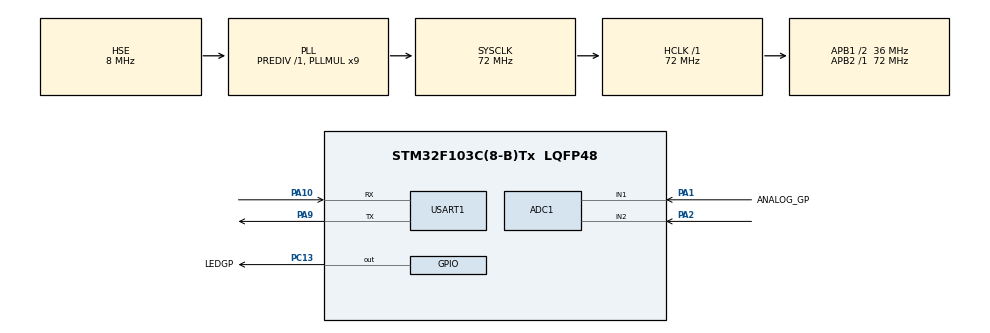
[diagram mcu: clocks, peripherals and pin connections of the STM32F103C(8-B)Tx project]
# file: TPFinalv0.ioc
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Mcu.Family=STM32F1
RCC.PLLSourceVirtual=RCC_PLLSOURCE_HSE
NVIC.ADC1_2_IRQn=true\:0\:0\:false\:false\:true\:true\:true
Dma.ADC1.0.Instance=DMA1_Channel1
ADC1.Rank-0\#ChannelRegularConversion=1
PD1-OSC_OUT.Mode=HSE-External-Oscillator
PA10.Mode=Asynchronous
SH.ADCx_IN2.0=ADC1_IN2,IN2
PC13-TAMPER-RTC.Signal=GPIO_Output
PD0-OSC_IN.Signal=RCC_OSC_IN
RCC.APB1CLKDivider=RCC_HCLK_DIV2
RCC.SYSCLKSource=RCC_SYSCLKSOURCE_PLLCLK
ProjectManager.StackSize=0x400
PD1-OSC_OUT.Signal=RCC_OSC_OUT
RCC.ADCPresc=RCC_ADCPCLK2_DIV6
PA13.Signal=SYS_JTMS-SWDIO
Dma.ADC1.0.PeriphDataAlignment=DMA_PDATAALIGN_HALFWORD
PA9.Mode=Asynchronous
ProjectManager.TargetToolchain=STM32CubeIDE
Dma.ADC1.0.Mode=DMA_NORMAL
RCC.HCLKFreq_Value=72000000
Dma.ADC1.0.Priority=DMA_PRIORITY_LOW
RCC.APB2TimFreq_Value=72000000
PA9.Signal=USART1_TX
ADC1.Channel-1\#ChannelRegularConversion=ADC_CHANNEL_2
Dma.ADC1.0.Direction=DMA_PERIPH_TO_MEMORY
RCC.USBFreq_Value=72000000
Dma.ADC1.0.MemDataAlignment=DMA_MDATAALIGN_HALFWORD
PA1.Signal=ADCx_IN1
RCC.AHBFreq_Value=72000000
PD0-OSC_IN.Mode=HSE-External-Oscillator
ADC1.Channel-0\#ChannelRegularConversion=ADC_CHANNEL_1
board=custom
PC13-TAMPER-RTC.GPIO_Label=LEDGP
RCC.PLLMUL=RCC_PLL_MUL9
RCC.APB2Freq_Value=72000000
VP_TIM2_VS_ClockSourceINT.Mode=Internal
PA14.Mode=Serial_Wire
Dma.ADC1.0.PeriphInc=DMA_PINC_DISABLE
NVIC.TIM2_IRQn=true\:0\:0\:false\:false\:true\:true\:true
PA1.GPIO_Label=ANALOG_GP
TIM2.Period=5000-1
ADC1.NbrOfConversion=2
PA13.Mode=Serial_Wire
Mcu.Name=STM32F103C(8-B)Tx
ADC1.SamplingTime-0\#ChannelRegularConversion=ADC_SAMPLETIME_1CYCLE_5
PA2.Signal=ADCx_IN2
ADC1.ExternalTrigConv=ADC_SOFTWARE_START
ADC1.SamplingTime-1\#ChannelRegularConversion=ADC_SAMPLETIME_1CYCLE_5
RCC.SYSCLKFreq_VALUE=72000000
Mcu.Package=LQFP48
TIM2.Prescaler=720-1
ADC1.master=1
USART1.VirtualMode=VM_ASYNC
ADC1.Rank-1\#ChannelRegularConversion=2
PA10.Signal=USART1_RX
PA14.Signal=SYS_JTCK-SWCLK
Dma.ADC1.0.MemInc=DMA_MINC_ENABLE
ProjectManager.HeapSize=0x200
NVIC.PriorityGroup=NVIC_PRIORITYGROUP_4
ADC1.NbrOfConversionFlag=1
SH.ADCx_IN1.0=ADC1_IN1,IN1
RCC.APB1TimFreq_Value=72000000
NVIC.DMA1_Channel1_IRQn=true\:0\:0\:false\:false\:true\:false\:true
NVIC.USART1_IRQn=true\:0\:0\:false\:false\:true\:true\:true
Dma.Request0=ADC1
RCC.APB1Freq_Value=36000000

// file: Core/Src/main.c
/* USER CODE BEGIN Header */
/**
  ******************************************************************************
  * @file           : main.c
  * @brief          : Main program body
  ******************************************************************************
  * @attention
  *
  * <h2><center>&copy; Copyright (c) 2021 STMicroelectronics.
  * All rights reserved.</center></h2>
  *
  * This software component is licensed by ST under BSD 3-Clause license,
  * the "License"; You may not use this file except in compliance with the
  * License. You may obtain a copy of the License at:
  *                        opensource.org/licenses/BSD-3-Clause
  *
  ******************************************************************************
  */
/* USER CODE END Header */
#include "main.h"
#include "adc.h"
#include "dma.h"
#include "tim.h"
#include "usart.h"
#include "gpio.h"
/* USER CODE BEGIN Includes */
#include <string.h>
/* USER CODE END Includes */

/* USER CODE BEGIN PTD */
typedef enum{CONTINUOUS_MODE=0,ONDEMAND_MODE} mode_t;
typedef enum{READY=0,NOT_READY} status_t;
typedef enum{MSG_RX_BYTE1=0,MSG_RX_BYTE2,MSG_RX_BYTE3,MSG_RX_BYTE4,MSG_RX_BYTE_COMPLETE} bytereceived_t;
/* USER CODE END PTD */

/* USER CODE BEGIN PD */

//#define	ADCWITHTIMER
//#define	LEDWITHPWM
#define LED_ON				GPIO_PIN_RESET						//Define el estado de encendido del led
#define LED_OFF				GPIO_PIN_SET						//Define el estado de apagado del led
#define LED_ON_CONTINUOUS	(uint16_t)100						//Tiempo en ms de encendido del led en modo continuo
#define LED_OFF_CONTINUOUS	(uint16_t)300						//Tiempo en ms de apagado del led en modo continuo
#define LED_ON_ONDEMAND		(uint16_t)500						//Tiempo en ms de encendido del led en modo demanda
#define LED_OFF_ONDEMAND	(uint16_t)400						//Tiempo en ms de apagado del led en modo demanda
#define ADC_BUFFER_SIZE 	ADC_CHANNELS * ADC_SAMPLES			//Tamaño del buffer del ADC
#define ADC_CHANNELS		2									//Cantidad de canales del ADC
#define ADC_SAMPLES			4									//Cantidad de muestreos por canal, hasta 16
#define ADC_TIME_TO_SAMPLE	50									//20Hz, tiempo entre muestras
#define	MSG_WELCOME			"Bienvenidos\r\n"					//Mensaje inicial emitido por la UART
#define MSG_TX_LENGTH		3 + 2 * ADC_CHANNELS				//Largo del mensaje a enviar
#define MSG_RX_LENGTH		4									//Largo del mensaje a recibir
#define MSG_HEADER_BYTE 	0x24								//$, encabezado del mensaje
#define	MSG_TAIL_BYTE1		0x0D								//\r, cola 1 del mensaje
#define	MSG_TAIL_BYTE2		0x0A								//\n, cola 2 del mensaje
#define CMD_CONTINUOUS		0x43								//C, comando para modo continuo
#define CMD_ONDEMAND		0x44								//D, comando para modo demanda
#define CMD_REQUEST			0x50								//P, comando para pedir un dato en modo demanda
/* USER CODE END PD */

/* USER CODE BEGIN PV */
uint16_t 				led_time_on, led_time_off;				//Definen el tiempo de encendido y apagado en ms
uint32_t 				led_time;								//Lleva el tiempo tomado del Systickpara el led, va a ser comparado con led_time_on y led_time_off
status_t				led_on_ready;							//Tiene el estado del led, READY como encendido y NOT_READY como apagado
ADC_HandleTypeDef 		hadc1;
DMA_HandleTypeDef 		hdma_adc1;
volatile uint16_t   	adc_values_buffer[ADC_BUFFER_SIZE];		//Se almacenan los valores convertidos por el ADC
volatile uint16_t   	adc_values_complete[ADC_BUFFER_SIZE];	//Copia de seguridad de los valores convertidos del ADC
volatile uint16_t 		adc_time;								//Lleva el tiempo tomado del Systick para el ADC
volatile status_t		adc_read_ready,adc_data_ready;			//Banderas que informan cuando el ADC convirtió los datos y cuando operó con ellos
uint16_t 				adc_channels[ADC_CHANNELS];				//Información del ADC promediada para cada canal
uint8_t 				data_rx;								//Almacena el dato leído por la UART, 1 caracter
uint8_t 				data_tx[MSG_TX_LENGTH];					//Vector que almacena el mensaje de salida por la UART
status_t				data_requested;							//Bandera que informa si hubo pedido de información, habilitada en modo Continuo o por el ingreso de una P en modo demanda
volatile status_t 		uart_tx_ready, uart_rx_ready; 			//Banderas que informan el correcto fin de la Tx y la lectura correcta de la Rx
uint8_t					uart_command;							//Variable donde se almacena el comando recibido por la UART
volatile bytereceived_t	uart_rx_index;							//El estado muestra la posición que se espera por la UART
mode_t 					mode;									//Contiene el modo de funcionamiento
status_t				mode_change;							//Bandera que habilita el cambio de modo
/* USER CODE END PV */

void SystemClock_Config(void);
/* USER CODE BEGIN PFP */
void Initialize(void);											//Inicializa los dispositivos
void ChangeMode(void);											//Cambia el modo
void LedInit(void);												//Inicializa el led
void LedVerifyAndToggle(void);									//Verifica si es su turno y modifica el estado del led
void AdcInit(void);												//Inicializa el ADC
#ifndef ADCWITHTIMER
void AdcRead(void);												//Solicita la conversión de datos en el ADC
#else
void AdcTimerInit(void);										//Inicializa el timer
#endif
void AdcVerifyAndOperate(void);									//Si los datos del ADC ya fueron recibidos los promedia
void Uart_Init(void);											//Inicializa la Uart
void UartTransmit(void);										//Transmite el mensaje por la UART
void UartReceive(void);											//Recibe de a un caracter por la UART
/* USER CODE END PFP */

int main(void)
{

  /* MCU Configuration--------------------------------------------------------*/

  /* Reset of all peripherals, Initializes the Flash interface and the Systick. */
  HAL_Init();

  /* Configure the system clock */
  SystemClock_Config();

  /* Initialize all configured peripherals */
  MX_GPIO_Init();
  MX_DMA_Init();
  MX_ADC1_Init();
  MX_USART1_UART_Init();
  /* USER CODE BEGIN 2 */
#ifdef ADCWITHTIMER
  MX_TIM2_Init();
#endif
  Initialize();
  /* USER CODE END 2 */

  /* Infinite loop */
  while (1)
  {

    /* USER CODE BEGIN 3 */
	  LedVerifyAndToggle();			//Verifica si es momento de encender o apagar el led
#ifndef ADCWITHTIMER
	  AdcRead();					//Dispara la conversión del ADC si corresponde
#endif
	  AdcVerifyAndOperate();		//Opera con los datos del ADC si corresponde
	  UartReceive();				//Dispara la recepción por UART
	  UartTransmit();				//Transmite por la UART si corresponde
	  ChangeMode();					//Cambia el modo de funcionamiento si corresponde
  }
  /* USER CODE END 3 */
}

void SystemClock_Config(void)
{
  RCC_OscInitTypeDef RCC_OscInitStruct = {0};
  RCC_ClkInitTypeDef RCC_ClkInitStruct = {0};
  RCC_PeriphCLKInitTypeDef PeriphClkInit = {0};

  /** Initializes the RCC Oscillators according to the specified parameters
  * in the RCC_OscInitTypeDef structure.
  */
  RCC_OscInitStruct.OscillatorType = RCC_OSCILLATORTYPE_HSE;
  RCC_OscInitStruct.HSEState = RCC_HSE_ON;
  RCC_OscInitStruct.HSEPredivValue = RCC_HSE_PREDIV_DIV1;
  RCC_OscInitStruct.HSIState = RCC_HSI_ON;
  RCC_OscInitStruct.PLL.PLLState = RCC_PLL_ON;
  RCC_OscInitStruct.PLL.PLLSource = RCC_PLLSOURCE_HSE;
  RCC_OscInitStruct.PLL.PLLMUL = RCC_PLL_MUL9;
  if (HAL_RCC_OscConfig(&RCC_OscInitStruct) != HAL_OK)
  {
    Error_Handler();
  }
  /** Initializes the CPU, AHB and APB buses clocks
  */
  RCC_ClkInitStruct.ClockType = RCC_CLOCKTYPE_HCLK|RCC_CLOCKTYPE_SYSCLK
                              |RCC_CLOCKTYPE_PCLK1|RCC_CLOCKTYPE_PCLK2;
  RCC_ClkInitStruct.SYSCLKSource = RCC_SYSCLKSOURCE_PLLCLK;
  RCC_ClkInitStruct.AHBCLKDivider = RCC_SYSCLK_DIV1;
  RCC_ClkInitStruct.APB1CLKDivider = RCC_HCLK_DIV2;
  RCC_ClkInitStruct.APB2CLKDivider = RCC_HCLK_DIV1;

  if (HAL_RCC_ClockConfig(&RCC_ClkInitStruct, FLASH_LATENCY_2) != HAL_OK)
  {
    Error_Handler();
  }
  PeriphClkInit.PeriphClockSelection = RCC_PERIPHCLK_ADC;
  PeriphClkInit.AdcClockSelection = RCC_ADCPCLK2_DIV6;
  if (HAL_RCCEx_PeriphCLKConfig(&PeriphClkInit) != HAL_OK)
  {
    Error_Handler();
  }
}

/* USER CODE BEGIN 4 */

void ChangeMode(void)
{
	if(mode_change == READY)
	{
		mode_change = NOT_READY;				//Limpia la bandera
		switch (mode)
		{
		case CONTINUOUS_MODE:
			led_time_on = LED_ON_CONTINUOUS;
			led_time_off = LED_OFF_CONTINUOUS;
			data_requested = READY;				//En modo Continuo siempre solicita el envio de dato
			break;
		case ONDEMAND_MODE:
			led_time_on = LED_ON_ONDEMAND;
			led_time_off = LED_OFF_ONDEMAND;
			data_requested = NOT_READY;			//Se mantiene no listo y espera el comando de pedido
			break;
		default:
			mode = CONTINUOUS_MODE;
			mode_change = READY;
			break;
		}
	}
}
void LedInit(void)
{
	led_time = HAL_GetTick();
	HAL_GPIO_WritePin(LEDGP_GPIO_Port, LEDGP_Pin, LED_ON);
	led_on_ready = READY;
}
void AdcInit(void)
{
	uint8_t i = 0;

	if (HAL_ADCEx_Calibration_Start(&hadc1) != HAL_OK)	//Calibración
	{
		Error_Handler();
	}
//	HAL_Delay(1);
	adc_time = HAL_GetTick();							//Toma el tiempo de inicio
	adc_read_ready = NOT_READY;
	adc_data_ready = NOT_READY;
	for (i = 0; i < ADC_BUFFER_SIZE; i++)				//Inicializa el buffer
	{
		adc_values_buffer[i] = 0;
	}
	for (i = 0; i < ADC_CHANNELS; i++)					//Inicializa el vector donde estarán los datos finales
		{
			adc_channels[i] = 0;
		}
	if (HAL_ADC_Start_DMA(&hadc1,(uint32_t*)adc_values_buffer, ADC_BUFFER_SIZE) != HAL_OK) //Primera lectura del ADC
	{
		Error_Handler();
	}
}
void Uart_Init(void)
{
	uart_tx_ready = READY;								//Listo para transmitir
	uart_rx_ready = NOT_READY;							//No hay caracter ingresando en la UART
	uart_rx_index = MSG_RX_BYTE1;
	data_tx[0] = MSG_HEADER_BYTE;
	data_tx[MSG_TX_LENGTH-2] = MSG_TAIL_BYTE1;
	data_tx[MSG_TX_LENGTH-1] = MSG_TAIL_BYTE2;

	if (HAL_UART_Transmit(&huart1, (uint8_t*) MSG_WELCOME, strlen(MSG_WELCOME), 10) != HAL_OK)
	{
		Error_Handler();
	}
	if (HAL_UART_Receive_IT(&huart1, &data_rx, 1) != HAL_OK)
	{
		Error_Handler();
	}

}
#ifdef ADCWITHTIMER
void AdcTimerInit(void)
{
	HAL_TIM_Base_Start_IT(&htim2);				//Enciende el Timer
}
#endif
void Initialize(void)
{
	mode = CONTINUOUS_MODE;						//Inicia en modo Continuo
	mode_change = READY;
	ChangeMode();
	AdcInit();
	LedInit();
	Uart_Init();
#ifdef ADCWITHTIMER
	AdcTimerInit();
#endif
}
void LedVerifyAndToggle(void)
{
	switch(led_on_ready)
	{
	case READY:
		if(HAL_GetTick()-led_time >= led_time_on)		//Verifica si le corresponde apagar el led
		{
			led_time = HAL_GetTick();
			HAL_GPIO_WritePin(LEDGP_GPIO_Port, LEDGP_Pin, LED_OFF);
			led_on_ready = NOT_READY;
		}
		break;
	case NOT_READY:
		if(HAL_GetTick()-led_time >= led_time_off)		//Verifica si le corresponde encender el led
		{
			led_time = HAL_GetTick();
			HAL_GPIO_WritePin(LEDGP_GPIO_Port, LEDGP_Pin, LED_ON);
			led_on_ready = READY;
		}
		break;
	}
}
#ifndef ADCWITHTIMER
void AdcRead(void)
{
	if (HAL_GetTick() - adc_time >= ADC_TIME_TO_SAMPLE)	//Verifica si tiene que disparar la conversión del ADC
	{
		adc_time = HAL_GetTick();

		if (HAL_ADC_Start(&hadc1) != HAL_OK)
		{
			Error_Handler();
		}
	}
}
#endif
void AdcVerifyAndOperate(void)							//Si el ADC cargó el vector completo calcula el promedio para cada canal
{
	volatile uint8_t i,j;
	uint16_t adc_channels_aux[ADC_CHANNELS];

	if (adc_read_ready == READY)
	{
		adc_read_ready = NOT_READY;
		for (i = 0; i < ADC_CHANNELS; i++)
		{
			adc_channels_aux[i] = 0;
		}
		for (i = 0; i < ADC_SAMPLES; i++)
		{
			for (j = 0; j < ADC_CHANNELS; j++)
			{
				adc_channels_aux[j] += adc_values_complete[i * ADC_CHANNELS + j];
			}
		}
		for (i = 0; i < ADC_CHANNELS; i++)
		{
			adc_channels[i] = (uint16_t) (adc_channels_aux[i] / ADC_SAMPLES);
		}
		adc_data_ready = READY;
	}
}

void UartTransmit(void)
{
	if (uart_tx_ready == READY && adc_data_ready == READY && data_requested == READY)	//Si no está trasmitiendo la UART, la data del ADC está lista y hay pedido de dato
	{
		uart_tx_ready = NOT_READY;
		adc_data_ready = NOT_READY;
		if(mode == ONDEMAND_MODE)
		{
			data_requested = NOT_READY;
		}

		data_tx[1] = (uint8_t)(adc_channels[0]>>8);										//Se cargan los datos promediados del ADC en el vector de salida
		data_tx[2] = (uint8_t)adc_channels[0];
		data_tx[3] = (uint8_t)(adc_channels[1]>>8);
		data_tx[4] = (uint8_t)adc_channels[1];
		HAL_UART_Transmit_IT(&huart1, &(data_tx[0]), MSG_TX_LENGTH);					//Se envian
	}
}
void UartReceive(void)
{
	if (uart_rx_ready == READY)
	{
		uart_rx_ready = NOT_READY;
		if(data_rx == MSG_HEADER_BYTE)			//Si se recibe el caracter "$" se reinicia el conteo
		{
			uart_rx_index = MSG_RX_BYTE1;
			uart_command = 0;
		}
		switch(uart_rx_index)					//Se verifican los caracteres recibidos y se almacena el comando
		{
			case MSG_RX_BYTE1:
				if(data_rx == MSG_HEADER_BYTE)
				{
					uart_rx_index = MSG_RX_BYTE2;
				}
				break;
			case MSG_RX_BYTE2:
				if(data_rx == CMD_CONTINUOUS || data_rx == CMD_ONDEMAND || data_rx == CMD_REQUEST)
				{
					uart_command = data_rx;
					uart_rx_index = MSG_RX_BYTE3;
				}
				else
				{
					uart_rx_index = MSG_RX_BYTE1;
					uart_command = 0;
				}
				break;
			case MSG_RX_BYTE3:
				if(data_rx == MSG_TAIL_BYTE1)
				{
					uart_rx_index = MSG_RX_BYTE4;
				}
				else
				{
					uart_rx_index = MSG_RX_BYTE1;
					uart_command = 0;
				}
				break;
			case MSG_RX_BYTE4:
				if(data_rx == MSG_TAIL_BYTE2)
				{
					uart_rx_index = MSG_RX_BYTE_COMPLETE;
				}
				else
				{
					uart_rx_index = MSG_RX_BYTE1;
					uart_command = 0;
				}
				break;
			default:
				uart_rx_index = MSG_RX_BYTE1;
				uart_command = 0;
				break;
		}
		if (uart_rx_index == MSG_RX_BYTE_COMPLETE)			//En caso de que el mensaje sea compatible se procede a utilizar la informacion recibida
		{
			switch(uart_command)
			{
			case CMD_CONTINUOUS:
				mode = CONTINUOUS_MODE;
				mode_change = READY;
				break;
			case CMD_ONDEMAND:
				mode = ONDEMAND_MODE;
				mode_change = READY;
				break;
			case CMD_REQUEST:
				data_requested = READY;
				break;
			default:
				break;
			}
			uart_rx_index = MSG_RX_BYTE1;
			uart_command = 0;
		}
		if (HAL_OK != HAL_UART_Receive_IT(&huart1, &data_rx, 1))		//Se solicita un nuevo caracter
		{
			Error_Handler();
		}
	}
}
void HAL_ADC_ConvCpltCallback(ADC_HandleTypeDef* AdcHandle)
{
	volatile uint8_t i;

	for (i = 0; i < ADC_BUFFER_SIZE; i++)								//Almacenamos los datos convertidos
	{
		adc_values_complete[i] = adc_values_buffer[i];
	}
	adc_read_ready = READY;												//Informamos que los datos están listos para utilizar
}
void HAL_UART_TxCpltCallback(UART_HandleTypeDef *huart)
{
	uart_tx_ready = READY;												//Informamos que finalizó la transmisión
}
void HAL_UART_RxCpltCallback(UART_HandleTypeDef *huart)
{
	uart_rx_ready = READY;												//Informamos la recepción de un caracter
}
#ifdef ADCWITHTIMER
void HAL_TIM_PeriodElapsedCallback(TIM_HandleTypeDef *htim)
{
//	adc_time = HAL_GetTick();
	if (HAL_ADC_Start(&hadc1) != HAL_OK)								//Se dispara la conversión en el ADC
	{
		Error_Handler();
	}
}
#endif
/* USER CODE END 4 */

void Error_Handler(void)
{
  __disable_irq();
  while (1)
  {
  }
}

/************************ (C) COPYRIGHT STMicroelectronics *****END OF FILE****/
